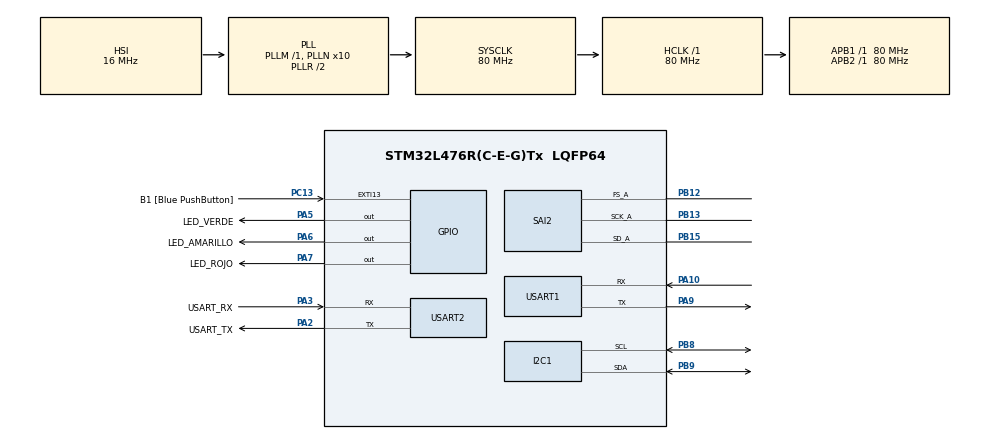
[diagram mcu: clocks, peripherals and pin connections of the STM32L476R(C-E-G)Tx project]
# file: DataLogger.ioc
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Dma.Request0=SAI2_A
Dma.SAI2_A.0.Direction=DMA_PERIPH_TO_MEMORY
Dma.SAI2_A.0.Instance=DMA1_Channel6
Dma.SAI2_A.0.MemDataAlignment=DMA_MDATAALIGN_WORD
Dma.SAI2_A.0.MemInc=DMA_MINC_ENABLE
Dma.SAI2_A.0.Mode=DMA_CIRCULAR
Dma.SAI2_A.0.PeriphDataAlignment=DMA_PDATAALIGN_WORD
Dma.SAI2_A.0.PeriphInc=DMA_PINC_DISABLE
Dma.SAI2_A.0.Priority=DMA_PRIORITY_LOW
I2C1.Timing=0x10D19CE4
Mcu.Family=STM32L4
Mcu.Name=STM32L476R(C-E-G)Tx
Mcu.Package=LQFP64
NVIC.DMA1_Channel6_IRQn=true\:0\:0\:false\:false\:true\:false\:true\:true
NVIC.PriorityGroup=NVIC_PRIORITYGROUP_4
PA10.Mode=Asynchronous
PA10.Signal=USART1_RX
PA13\ (JTMS-SWDIO).GPIO_Label=TMS
PA13\ (JTMS-SWDIO).Mode=Serial_Wire
PA13\ (JTMS-SWDIO).Signal=SYS_JTMS-SWDIO
PA14\ (JTCK-SWCLK).GPIO_Label=TCK
PA14\ (JTCK-SWCLK).Mode=Serial_Wire
PA14\ (JTCK-SWCLK).Signal=SYS_JTCK-SWCLK
PA2.GPIO_Label=USART_TX
PA2.GPIO_Mode=GPIO_MODE_AF_PP
PA2.GPIO_PuPd=GPIO_NOPULL
PA2.GPIO_Speed=GPIO_SPEED_FREQ_VERY_HIGH
PA2.Mode=Asynchronous
PA2.Signal=USART2_TX
PA3.GPIO_Label=USART_RX
PA3.GPIO_Mode=GPIO_MODE_AF_PP
PA3.GPIO_PuPd=GPIO_NOPULL
PA3.GPIO_Speed=GPIO_SPEED_FREQ_VERY_HIGH
PA3.Mode=Asynchronous
PA3.Signal=USART2_RX
PA5.GPIO_Label=LED_VERDE
PA5.GPIO_ModeDefaultOutputPP=GPIO_MODE_OUTPUT_PP
PA5.GPIO_PuPd=GPIO_NOPULL
PA5.GPIO_Speed=GPIO_SPEED_FREQ_LOW
PA5.Signal=GPIO_Output
PA6.GPIO_Label=LED_AMARILLO
PA6.Signal=GPIO_Output
PA7.GPIO_Label=LED_ROJO
PA7.Signal=GPIO_Output
PA9.Mode=Asynchronous
PA9.Signal=USART1_TX
PB12.Mode=SAI_A_Master
PB12.Signal=SAI2_FS_A
PB13.Mode=SAI_A_Master
PB13.Signal=SAI2_SCK_A
PB15.Mode=SAI_A_Master
PB15.Signal=SAI2_SD_A
PB3\ (JTDO-TRACESWO).GPIO_Label=SWO
PB3\ (JTDO-TRACESWO).Signal=SYS_JTDO-SWO
PB8.Mode=I2C
PB8.Signal=I2C1_SCL
PB9.Mode=I2C
PB9.Signal=I2C1_SDA
PC13.GPIO_Label=B1 [Blue PushButton]
PC13.GPIO_ModeDefaultEXTI=GPIO_MODE_IT_FALLING
PC13.GPIO_PuPd=GPIO_NOPULL
PC13.Signal=GPXTI13
PC14-OSC32_IN\ (PC14).Mode=LSE-External-Oscillator
PC14-OSC32_IN\ (PC14).Signal=RCC_OSC32_IN
PC15-OSC32_OUT\ (PC15).Mode=LSE-External-Oscillator
PC15-OSC32_OUT\ (PC15).Signal=RCC_OSC32_OUT
PH0-OSC_IN\ (PH0).Signal=RCC_OSC_IN
PH1-OSC_OUT\ (PH1).Signal=RCC_OSC_OUT
ProjectManager.HeapSize=0x200
ProjectManager.StackSize=0x400
ProjectManager.TargetToolchain=STM32CubeIDE
RCC.ADCFreq_Value=64000000
RCC.AHBFreq_Value=80000000
RCC.APB1Freq_Value=80000000
RCC.APB1TimFreq_Value=80000000
RCC.APB2Freq_Value=80000000
RCC.APB2TimFreq_Value=80000000
RCC.CortexFreq_Value=80000000
RCC.HCLKFreq_Value=80000000
RCC.HSE_VALUE=8000000
RCC.HSI_VALUE=16000000
RCC.MSI_VALUE=4000000
RCC.PLLN=10
RCC.PLLSourceVirtual=RCC_PLLSOURCE_HSI
RCC.PREFETCH_ENABLE=1
RCC.SYSCLKFreq_VALUE=80000000
RCC.SYSCLKSource=RCC_SYSCLKSOURCE_PLLCLK
RCC.USBFreq_Value=64000000
RCC.VCOOutputFreq_Value=160000000
SAI2.AudioFrequency-SAI_A_Master=SAI_AUDIO_FREQUENCY_16K
SAI2.AudioMode-SAI_A_Master=SAI_MODEMASTER_RX
SAI2.BasicDataSize-SAI_A_Master=SAI_PROTOCOL_DATASIZE_24BIT
SAI2.ErrorAudioFreq-SAI_A_Master=11.6 %
SAI2.InitProtocol-SAI_A_Master=Enable
SAI2.Instance-SAI_A_Master=SAI$Index_Block_A
SAI2.MClockEnable-SAI_A_Master=SAI_MASTERCLOCK_DISABLE
SAI2.RealAudioFreq-SAI_A_Master=17.857 KHz
SAI2.VirtualMode-SAI_A_Master=VM_MASTER
SAI2.VirtualProtocol-SAI_A_BASIC=VM_BASIC_PROTOCOL
USART1.VirtualMode-Asynchronous=VM_ASYNC
USART2.VirtualMode-Asynchronous=VM_ASYNC
VP_SAI2_VP_$IpInstance_SAIA_SAI_BASIC.Mode=SAI_A_BASIC
board=NUCLEO-L476RG

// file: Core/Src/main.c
/* USER CODE BEGIN Header */
/**
  ******************************************************************************
  * @file           : main.c
  * @brief          : Main program body
  ******************************************************************************
  * @attention
  *
  * Copyright (c) 2026 STMicroelectronics.
  * All rights reserved.
  *
  * This software is licensed under terms that can be found in the LICENSE file
  * in the root directory of this software component.
  * If no LICENSE file comes with this software, it is provided AS-IS.
  *
  ******************************************************************************
  */
/* USER CODE END Header */
#include "main.h"

/* USER CODE BEGIN Includes */
#include "LSM6DSL.h"
#include <stdio.h>
#include <string.h>
/* USER CODE END Includes */

I2C_HandleTypeDef hi2c1;

SAI_HandleTypeDef hsai_BlockA2;
DMA_HandleTypeDef hdma_sai2_a;

UART_HandleTypeDef huart1;
UART_HandleTypeDef huart2;

void SystemClock_Config(void);
static void MX_GPIO_Init(void);
static void MX_DMA_Init(void);
static void MX_USART2_UART_Init(void);
static void MX_USART1_UART_Init(void);
static void MX_I2C1_Init(void);
static void MX_SAI2_Init(void);

/* USER CODE BEGIN 0 */
int __io_putchar(int ch)
{
	uint8_t c[1];
	c[0] = ch & 0x00FF;
	HAL_UART_Transmit(&huart2, &*c, 1, 10);
	return ch;
}
/* USER CODE END 0 */

int main(void)
{

  /* MCU Configuration--------------------------------------------------------*/

  /* Reset of all peripherals, Initializes the Flash interface and the Systick. */
  HAL_Init();

  /* Configure the system clock */
  SystemClock_Config();

  /* Initialize all configured peripherals */
  MX_GPIO_Init();
  MX_DMA_Init();
  MX_USART2_UART_Init();
  MX_USART1_UART_Init();
  MX_I2C1_Init();
  MX_SAI2_Init();
  /* USER CODE BEGIN 2 */

  LSM6DSL_Init();
  MPU6050_Init();
  /* USER CODE END 2 */

  /* Infinite loop */
  /* USER CODE BEGIN WHILE */
    #define N_SAMPLE 64  // Definimos el tamaño de la ventana

    while (1)
    {
        float accel[3];
        char buffer[100]; // Buffer para dar formato a cada lectura

        for(uint16_t i=0; i < N_SAMPLE; i++){
            MPU6050_ReadAccel(accel);

            // Damos formato a la cadena. Añadimos coma si no es el último, o salto de línea al final
            if(i < N_SAMPLE - 1) {
                snprintf(buffer, sizeof(buffer), "%.4f,%.4f,%.4f,", accel[0], accel[1], accel[2]);
            } else {
                snprintf(buffer, sizeof(buffer), "%.4f,%.4f,%.4f\n", accel[0], accel[1], accel[2]);
            }

            // Enviamos el dato por USART1 (hacia el pin RX 16 de la ESP32)
            HAL_UART_Transmit(&huart1, (uint8_t*)buffer, strlen(buffer), HAL_MAX_DELAY);

            // Enviamos el dato por USART2 (hacia tu cable USB para debug local, opcional)
            HAL_UART_Transmit(&huart2, (uint8_t*)buffer, strlen(buffer), HAL_MAX_DELAY);

            // CRÍTICO: Pausa para asegurar la frecuencia de muestreo (~100Hz)
            HAL_Delay(10);
        }

        // Pausa mayor entre ventanas completas
        HAL_Delay(100);

      /* USER CODE END WHILE */

    }
}

void SystemClock_Config(void)
{
  RCC_OscInitTypeDef RCC_OscInitStruct = {0};
  RCC_ClkInitTypeDef RCC_ClkInitStruct = {0};

  /** Configure the main internal regulator output voltage
  */
  if (HAL_PWREx_ControlVoltageScaling(PWR_REGULATOR_VOLTAGE_SCALE1) != HAL_OK)
  {
    Error_Handler();
  }

  /** Initializes the RCC Oscillators according to the specified parameters
  * in the RCC_OscInitTypeDef structure.
  */
  RCC_OscInitStruct.OscillatorType = RCC_OSCILLATORTYPE_HSI;
  RCC_OscInitStruct.HSIState = RCC_HSI_ON;
  RCC_OscInitStruct.HSICalibrationValue = RCC_HSICALIBRATION_DEFAULT;
  RCC_OscInitStruct.PLL.PLLState = RCC_PLL_ON;
  RCC_OscInitStruct.PLL.PLLSource = RCC_PLLSOURCE_HSI;
  RCC_OscInitStruct.PLL.PLLM = 1;
  RCC_OscInitStruct.PLL.PLLN = 10;
  RCC_OscInitStruct.PLL.PLLP = RCC_PLLP_DIV7;
  RCC_OscInitStruct.PLL.PLLQ = RCC_PLLQ_DIV2;
  RCC_OscInitStruct.PLL.PLLR = RCC_PLLR_DIV2;
  if (HAL_RCC_OscConfig(&RCC_OscInitStruct) != HAL_OK)
  {
    Error_Handler();
  }

  /** Initializes the CPU, AHB and APB buses clocks
  */
  RCC_ClkInitStruct.ClockType = RCC_CLOCKTYPE_HCLK|RCC_CLOCKTYPE_SYSCLK
                              |RCC_CLOCKTYPE_PCLK1|RCC_CLOCKTYPE_PCLK2;
  RCC_ClkInitStruct.SYSCLKSource = RCC_SYSCLKSOURCE_PLLCLK;
  RCC_ClkInitStruct.AHBCLKDivider = RCC_SYSCLK_DIV1;
  RCC_ClkInitStruct.APB1CLKDivider = RCC_HCLK_DIV1;
  RCC_ClkInitStruct.APB2CLKDivider = RCC_HCLK_DIV1;

  if (HAL_RCC_ClockConfig(&RCC_ClkInitStruct, FLASH_LATENCY_4) != HAL_OK)
  {
    Error_Handler();
  }
}

static void MX_I2C1_Init(void)
{

  hi2c1.Instance = I2C1;
  hi2c1.Init.Timing = 0x10D19CE4;
  hi2c1.Init.OwnAddress1 = 0;
  hi2c1.Init.AddressingMode = I2C_ADDRESSINGMODE_7BIT;
  hi2c1.Init.DualAddressMode = I2C_DUALADDRESS_DISABLE;
  hi2c1.Init.OwnAddress2 = 0;
  hi2c1.Init.OwnAddress2Masks = I2C_OA2_NOMASK;
  hi2c1.Init.GeneralCallMode = I2C_GENERALCALL_DISABLE;
  hi2c1.Init.NoStretchMode = I2C_NOSTRETCH_DISABLE;
  if (HAL_I2C_Init(&hi2c1) != HAL_OK)
  {
    Error_Handler();
  }

  /** Configure Analogue filter
  */
  if (HAL_I2CEx_ConfigAnalogFilter(&hi2c1, I2C_ANALOGFILTER_ENABLE) != HAL_OK)
  {
    Error_Handler();
  }

  /** Configure Digital filter
  */
  if (HAL_I2CEx_ConfigDigitalFilter(&hi2c1, 0) != HAL_OK)
  {
    Error_Handler();
  }

}

static void MX_SAI2_Init(void)
{

  hsai_BlockA2.Instance = SAI2_Block_A;
  hsai_BlockA2.Init.AudioMode = SAI_MODEMASTER_RX;
  hsai_BlockA2.Init.Synchro = SAI_ASYNCHRONOUS;
  hsai_BlockA2.Init.OutputDrive = SAI_OUTPUTDRIVE_DISABLE;
  hsai_BlockA2.Init.NoDivider = SAI_MASTERDIVIDER_ENABLE;
  hsai_BlockA2.Init.FIFOThreshold = SAI_FIFOTHRESHOLD_EMPTY;
  hsai_BlockA2.Init.AudioFrequency = SAI_AUDIO_FREQUENCY_16K;
  hsai_BlockA2.Init.SynchroExt = SAI_SYNCEXT_DISABLE;
  hsai_BlockA2.Init.MonoStereoMode = SAI_STEREOMODE;
  hsai_BlockA2.Init.CompandingMode = SAI_NOCOMPANDING;
  if (HAL_SAI_InitProtocol(&hsai_BlockA2, SAI_I2S_STANDARD, SAI_PROTOCOL_DATASIZE_24BIT, 2) != HAL_OK)
  {
    Error_Handler();
  }

}

static void MX_USART1_UART_Init(void)
{

  huart1.Instance = USART1;
  huart1.Init.BaudRate = 115200;
  huart1.Init.WordLength = UART_WORDLENGTH_8B;
  huart1.Init.StopBits = UART_STOPBITS_1;
  huart1.Init.Parity = UART_PARITY_NONE;
  huart1.Init.Mode = UART_MODE_TX_RX;
  huart1.Init.HwFlowCtl = UART_HWCONTROL_NONE;
  huart1.Init.OverSampling = UART_OVERSAMPLING_16;
  huart1.Init.OneBitSampling = UART_ONE_BIT_SAMPLE_DISABLE;
  huart1.AdvancedInit.AdvFeatureInit = UART_ADVFEATURE_NO_INIT;
  if (HAL_UART_Init(&huart1) != HAL_OK)
  {
    Error_Handler();
  }

}

static void MX_USART2_UART_Init(void)
{

  huart2.Instance = USART2;
  huart2.Init.BaudRate = 115200;
  huart2.Init.WordLength = UART_WORDLENGTH_8B;
  huart2.Init.StopBits = UART_STOPBITS_1;
  huart2.Init.Parity = UART_PARITY_NONE;
  huart2.Init.Mode = UART_MODE_TX_RX;
  huart2.Init.HwFlowCtl = UART_HWCONTROL_NONE;
  huart2.Init.OverSampling = UART_OVERSAMPLING_16;
  huart2.Init.OneBitSampling = UART_ONE_BIT_SAMPLE_DISABLE;
  huart2.AdvancedInit.AdvFeatureInit = UART_ADVFEATURE_NO_INIT;
  if (HAL_UART_Init(&huart2) != HAL_OK)
  {
    Error_Handler();
  }

}

static void MX_DMA_Init(void)
{

  /* DMA controller clock enable */
  __HAL_RCC_DMA1_CLK_ENABLE();

  /* DMA interrupt init */
  /* DMA1_Channel6_IRQn interrupt configuration */
  HAL_NVIC_SetPriority(DMA1_Channel6_IRQn, 0, 0);
  HAL_NVIC_EnableIRQ(DMA1_Channel6_IRQn);

}

static void MX_GPIO_Init(void)
{
  GPIO_InitTypeDef GPIO_InitStruct = {0};

  /* GPIO Ports Clock Enable */
  __HAL_RCC_GPIOC_CLK_ENABLE();
  __HAL_RCC_GPIOH_CLK_ENABLE();
  __HAL_RCC_GPIOA_CLK_ENABLE();
  __HAL_RCC_GPIOB_CLK_ENABLE();

  /*Configure GPIO pin Output Level */
  HAL_GPIO_WritePin(GPIOA, LED_VERDE_Pin|LED_AMARILLO_Pin|LED_ROJO_Pin, GPIO_PIN_RESET);

  /*Configure GPIO pin : B1_Pin */
  GPIO_InitStruct.Pin = B1_Pin;
  GPIO_InitStruct.Mode = GPIO_MODE_IT_FALLING;
  GPIO_InitStruct.Pull = GPIO_NOPULL;
  HAL_GPIO_Init(B1_GPIO_Port, &GPIO_InitStruct);

  /*Configure GPIO pins : LED_VERDE_Pin LED_AMARILLO_Pin LED_ROJO_Pin */
  GPIO_InitStruct.Pin = LED_VERDE_Pin|LED_AMARILLO_Pin|LED_ROJO_Pin;
  GPIO_InitStruct.Mode = GPIO_MODE_OUTPUT_PP;
  GPIO_InitStruct.Pull = GPIO_NOPULL;
  GPIO_InitStruct.Speed = GPIO_SPEED_FREQ_LOW;
  HAL_GPIO_Init(GPIOA, &GPIO_InitStruct);

}

void Error_Handler(void)
{
  __disable_irq();
  while (1)
  {
  }
}
